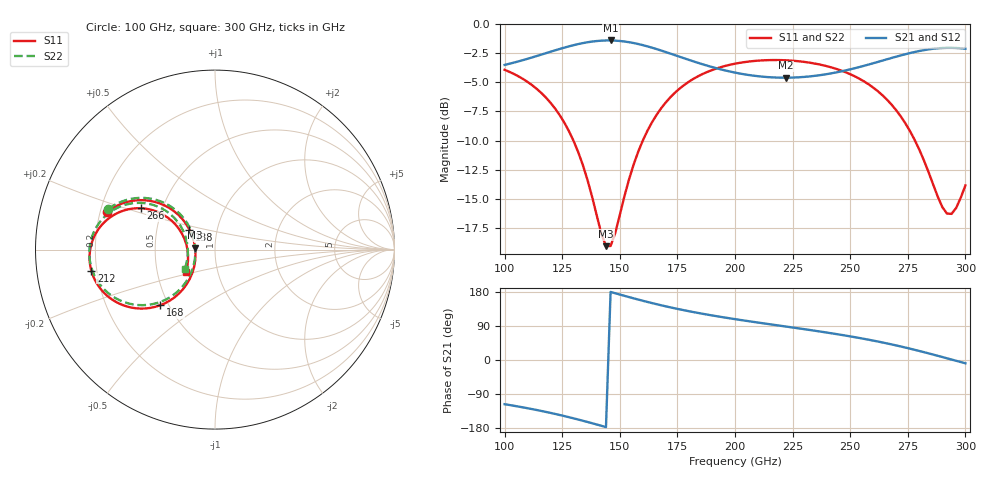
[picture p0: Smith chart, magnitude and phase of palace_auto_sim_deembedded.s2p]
! Created with skrf 1.11.0 (http://scikit-rf.org).
# GHz S DB R 50.0
!freq dBS11 angS11 dBS21 angS21 dBS12 angS12 dBS22 angS22
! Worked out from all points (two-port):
!   101 points, 100 GHz to 300 GHz, reference 50 ohm
!   highest |S21| = -1.40 dB at 146 GHz (marker M1); lowest = -4.6 dB at 222 GHz (marker M2)
!   |S21| within 3 dB of the highest: start of sweep to 207.1 GHz; 236.2 GHz to end of sweep
!   lowest |S11| = -19.1 dB at 144 GHz (marker M3), VSWR 1.25, Z = 40 + j0.823 ohm
!   |S11| at or under -10 dB: 129.9 GHz to 160 GHz (30.13 GHz wide, 20.8 % of centre); 278.1 GHz to end of sweep
!   |S22| runs from -19.1 to -3.1 dB; largest |S21 - S12| = 6.9e-14
!   S11 on the Smith chart (normalised r, x): 100 GHz: 0.23, +0.16; 138 GHz: 0.73, +0.17; 168 GHz: 0.45, -0.34; 212 GHz: 0.18, -0.08; 266 GHz: 0.38, +0.22; 300 GHz: 0.70, -0.18
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100  -3.92 160.8  -3.50 -116.6  -3.50 -116.6  -3.93 159.3
110  -4.97 152.3  -2.97 -127.3  -2.97 -127.3  -4.97 150.6
120  -6.77 143.5  -2.37 -139.7  -2.37 -139.7  -6.77 141.7
128  -9.22 137.7  -1.90 -151.0  -1.90 -151.0  -9.22 135.8
134  -12.13 136.9  -1.63 -160.4  -1.63 -160.4  -12.13 134.9
138  -14.85 141.9  -1.50 -166.9  -1.50 -166.9  -14.85 139.8
144  -19.07 174.8  -1.40 -177.0  -1.40 -177.0  -19.08 172.6
146  -19.06 -166.6  -1.40 179.6  -1.40 179.6  -19.06 -168.8
158  -10.96 -128.9  -1.71 159.5  -1.71 159.5  -10.96 -131.3
168  -7.21 -134.6  -2.27 144.4  -2.27 144.4  -7.22 -137.1
182  -4.70 -146.9  -3.20 126.4  -3.20 126.4  -4.70 -149.7
200  -3.40 -161.6  -4.16 107.8  -4.16 107.8  -3.40 -164.6
212  -3.11 -170.3  -4.51 97.0  -4.51 97.0  -3.12 -173.6
222  -3.11 -177.3  -4.60 88.4  -4.60 88.4  -3.11 179.3
234  -3.36 174.3  -4.46 77.8  -4.46 77.8  -3.37 170.8
250  -4.30 162.7  -3.88 62.3  -3.88 62.3  -4.30 158.9
266  -6.49 150.9  -3.02 43.7  -3.02 43.7  -6.50 146.8
268  -6.92 149.5  -2.90 41.1  -2.90 41.1  -6.93 145.4
280  -10.78 146.4  -2.31 23.8  -2.31 23.8  -10.80 142.0
292  -16.27 179.5  -2.03 4.5  -2.03 4.5  -16.32 175.1
296  -15.79 -157.8  -2.04 -2.1  -2.04 -2.1  -15.83 -162.1
300  -13.86 -142.7  -2.11 -8.7  -2.11 -8.7  -13.89 -147.1
